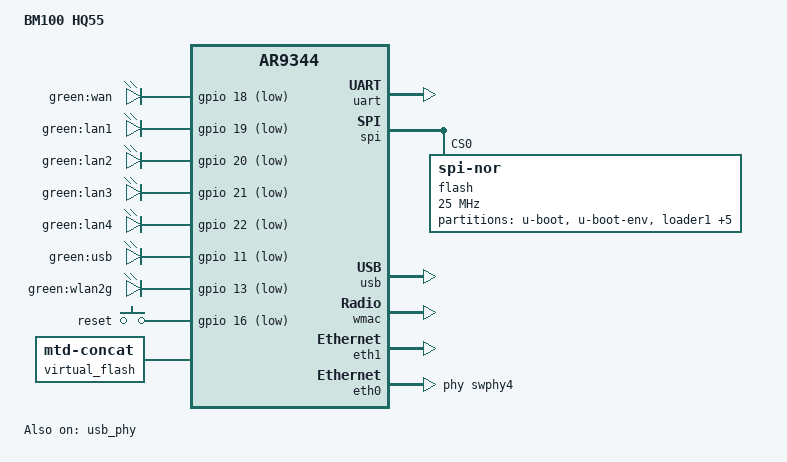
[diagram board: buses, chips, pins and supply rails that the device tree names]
// SPDX-License-Identifier: GPL-2.0-or-later OR MIT
/dts-v1/;

#include <dt-bindings/gpio/gpio.h>
#include <dt-bindings/input/input.h>
#include <dt-bindings/mtd/partitions/uimage.h>

#include "ar9344.dtsi"

/ {
	model = "BM100 HQ55";
	compatible = "bm100,hq55", "qca,ar9344";

	chosen {
		bootargs = "console=ttyS0,115200n8";
	};

	aliases {
		led-boot = &led_system;
		led-failsafe = &led_system;
		led-running = &led_system;
		led-upgrade = &led_system;
	};

	leds {
		compatible = "gpio-leds";

		pinctrl-names = "default";
		pinctrl-0 = <&jtag_disable_pins &enable_gpio19 &enable_gpio11>;

		wan {
			label = "green:wan";
			gpios = <&gpio 18 GPIO_ACTIVE_LOW>;
		};

		lan1 {
			label = "green:lan1";
			gpios = <&gpio 19 GPIO_ACTIVE_LOW>;
		};

		lan2 {
			label = "green:lan2";
			gpios = <&gpio 20 GPIO_ACTIVE_LOW>;
		};

		lan3 {
			label = "green:lan3";
			gpios = <&gpio 21 GPIO_ACTIVE_LOW>;
		};

		lan4 {
			label = "green:lan4";
			gpios = <&gpio 22 GPIO_ACTIVE_LOW>;
		};

		usb {
			label = "green:usb";
			gpios = <&gpio 11 GPIO_ACTIVE_LOW>;
			linux,default-trigger = "usbport";
			trigger-sources = <&hub_port1>;
		};

		led_system: wlan2g {
			label = "green:wlan2g";
			gpios = <&gpio 13 GPIO_ACTIVE_LOW>;
			linux,default-trigger = "phy0tpt";
		};
	};

	keys {
		compatible = "gpio-keys";

		reset {
			linux,code = <KEY_RESTART>;
			gpios = <&gpio 16 GPIO_ACTIVE_LOW>;
			debounce-interval = <60>;
		};
	};

	virtual_flash {
		compatible = "mtd-concat";
		devices = <&fwconcat0 &fwconcat1>;

		partitions {
			compatible = "fixed-partitions";
			#address-cells = <1>;
			#size-cells = <1>;

			partition@0 {
				reg = <0x0 0x0>;
				label = "firmware";
				compatible = "openwrt,uimage", "denx,uimage";
				openwrt,ih-magic = <IH_MAGIC_OKLI>;
			};
		};
	};
};

&ref {
	clock-frequency = <40000000>;
};

&uart {
	status = "okay";
};

&gpio {
	status = "okay";
};

&pinmux {
	enable_gpio19: pinmux_enable_gpio19 {
		pinctrl-single,bits = <0x10 0x0 0xff000000>;
	};

	enable_gpio11: pinmux_enable_gpio11 {
		pinctrl-single,bits = <0x8 0x0 0xff000000>;
	};
};

&spi {
	num-cs = <1>;

	status = "okay";

	flash@0 {
		compatible = "jedec,spi-nor";
		reg = <0>;
		spi-max-frequency = <25000000>;

		partitions {
			compatible = "fixed-partitions";
			#address-cells = <1>;
			#size-cells = <1>;

			uboot: partition@0 {
				label = "u-boot";
				reg = <0x000000 0x040000>;
			};

			partition@40000 {
				label = "u-boot-env";
				reg = <0x040000 0x010000>;
			};

			partition@50000 {
				label = "loader1";
				reg = <0x050000 0x010000>;
			};

			fwconcat0: partition@60000 {
				label = "fwconcat0";
				reg = <0x060000 0xe50000>;
			};

			partition@eb0000 {
				label = "loader2";
				reg = <0xeb0000 0x010000>;
			};

			fwconcat1: partition@ec0000 {
				label = "fwconcat1";
				reg = <0xec0000 0x130000>;
			};

			/* firmware
			 * oem-rootfs: 0x50000 0xe60000 ->loader1(64k) + kernel + rootfs
			 * oem-kernel: 0xeb0000 0x140000 ->loader2(64k)
			 */
			partition@1 {
				label = "oem-firmware";
				reg = <0x50000 0xfa0000>;
			};

			art: partition@ff0000 {
				label = "art";
				reg = <0xff0000 0x010000>;
				read-only;
			};
		};
	};
};

&usb {
	status = "okay";
	#address-cells = <1>;
	#size-cells = <0>;

	hub_port1: port@1 {
		reg = <1>;
		#trigger-source-cells = <0>;
	};
};

&usb_phy {
	status = "okay";
};

&wmac {
	status = "okay";
	mtd-cal-data = <&art 0x1000>;
	mtd-mac-address = <&art 0x0>;
	nvmem-cells = <&macaddr_art_0>;
	nvmem-cell-names = "mac-address";
	mac-address-increment = <1>;
};

&eth1 {
	status = "okay";

	mtd-mac-address = <&art 0x0>;
	nvmem-cells = <&macaddr_art_0>;
	nvmem-cell-names = "mac-address";
	mac-address-increment = <(-1)>;

	gmac-config {
		device = <&gmac>;
		switch-phy-swap = <0>;
		switch-only-mode = <1>;
	};
};

&eth0 {
	status = "okay";

	phy-handle = <&swphy4>;

	mtd-mac-address = <&art 0x0>;
	nvmem-cells = <&macaddr_art_0>;
	nvmem-cell-names = "mac-address";
};

&art {
	compatible = "nvmem-cells";
	#address-cells = <1>;
	#size-cells = <1>;

	macaddr_art_0: macaddr@0 {
		ret = <0x0 0x6>;
	};
};
